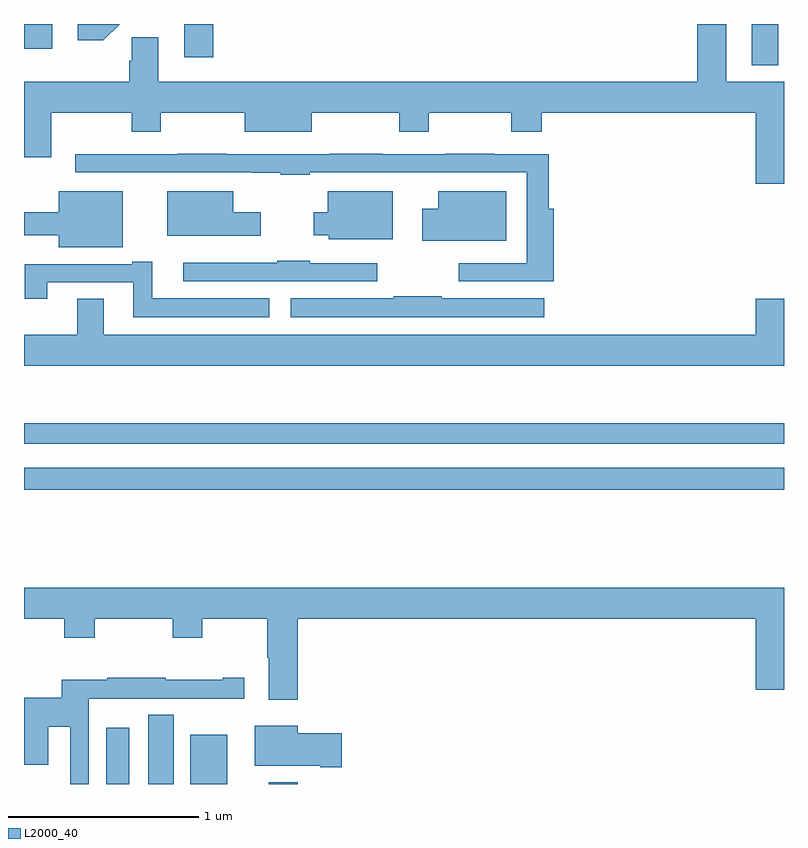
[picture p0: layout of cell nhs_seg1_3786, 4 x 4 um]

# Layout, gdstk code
import gdstk
lib = gdstk.Library(unit=1e-6, precision=1e-09)
def R(c, l, rs):  # rectangles x0, y0, x1, y1
    for r in rs: c.add(gdstk.rectangle(r[:2], r[2:], *l))
def P(c, l, *ps):  # polygons
    for p in ps: c.add(gdstk.Polygon(p, *l))
L2000_40 = (2000, 40)

nhs_seg1_3786 = lib.new_cell('nhs_seg1_3786')
R(nhs_seg1_3786, L2000_40, [(317.432,548.199,317.554,548.494), (317.654,548.199,317.788,548.564), (317.876,548.199,318.07,548.458), (318.287,548.199,318.44,548.209), (317,549.748,321,549.864), (317,549.99,321,550.099), (320.831,551.981,320.971,552.199), (317.843,552.024,317.996,552.199), (317,552.068,317.149,552.199)])
P(nhs_seg1_3786, L2000_40, [(321,551.896),(320.695,551.896),(320.695,552.199),(320.543,552.199),(320.543,551.896),(317.707,551.896),(317.707,552.128),(317.568,552.128),(317.568,552.006),(317.555,552.006),(317.555,551.896),(317,551.896),(317,551.499),(317.143,551.499),(317.143,551.732),(317.566,551.732),(317.566,551.633),(317.721,551.633),(317.721,551.732),(318.161,551.732),(318.161,551.633),(318.514,551.633),(318.514,551.732),(318.976,551.732),(318.976,551.633),(319.131,551.633),(319.131,551.732),(319.564,551.732),(319.564,551.633),(319.724,551.633),(319.724,551.732),(320.852,551.732),(320.852,551.358),(321,551.358)],
  [(317.503,552.199),(317.283,552.199),(317.283,552.114),(317.418,552.114)],
  [(319.787,551.227),(319.763,551.227),(319.763,551.514),(319.475,551.514),(319.475,551.516),(319.219,551.516),(319.219,551.514),(318.887,551.514),(318.887,551.516),(318.61,551.516),(318.61,551.514),(318.065,551.514),(318.065,551.516),(317.809,551.516),(317.809,551.514),(317.271,551.514),(317.271,551.418),(318.196,551.418),(318.196,551.417),(318.35,551.417),(318.35,551.406),(318.503,551.406),(318.503,551.418),(319.647,551.418),(319.647,550.941),(319.287,550.941),(319.287,550.845),(319.787,550.845)],
  [(318.247,551.209),(318.1,551.209),(318.1,551.32),(317.753,551.32),(317.753,551.084),(318.247,551.084)],
  [(317.521,551.32),(317.183,551.32),(317.183,551.209),(317,551.209),(317,551.087),(317.183,551.087),(317.183,551.024),(317.521,551.024)],
  [(318.94,551.32),(318.599,551.32),(318.599,551.209),(318.524,551.209),(318.524,551.087),(318.603,551.087),(318.603,551.066),(318.94,551.066)],
  [(319.537,551.32),(319.181,551.32),(319.181,551.227),(319.097,551.227),(319.097,551.057),(319.537,551.057)],
  [(318.859,550.941),(318.503,550.941),(318.503,550.954),(318.334,550.954),(318.334,550.942),(317.838,550.942),(317.838,550.845),(318.859,550.845)],
  [(318.292,550.756),(317.674,550.756),(317.674,550.948),(317.57,550.948),(317.57,550.935),(317.005,550.935),(317.005,550.752),(317.122,550.752),(317.122,550.839),(317.576,550.839),(317.576,550.655),(318.292,550.655)],
  [(319.738,550.756),(319.199,550.756),(319.199,550.766),(318.946,550.766),(318.946,550.756),(318.405,550.756),(318.405,550.655),(319.738,550.655)],
  [(321,550.753),(320.852,550.753),(320.852,550.564),(317.419,550.564),(317.419,550.754),(317.279,550.754),(317.279,550.564),(317,550.564),(317,550.4),(321,550.4)],
  [(317,549.068),(317.213,549.068),(317.213,548.969),(317.373,548.969),(317.373,549.068),(317.782,549.068),(317.782,548.969),(317.937,548.969),(317.937,549.068),(318.28,549.068),(318.28,548.864),(318.287,548.864),(318.287,548.643),(318.44,548.643),(318.44,549.068),(320.852,549.068),(320.852,548.694),(321,548.694),(321,549.232),(317,549.232)],
  [(317.34,548.648),(317.55,548.648),(317.55,548.649),(317.884,548.649),(317.884,548.648),(318.16,548.648),(318.16,548.758),(318.047,548.758),(318.047,548.748),(317.747,548.748),(317.747,548.758),(317.437,548.758),(317.437,548.748),(317.198,548.748),(317.198,548.653),(317,548.653),(317,548.301),(317.128,548.301),(317.128,548.501),(317.244,548.501),(317.244,548.199),(317.34,548.199)],
  [(318.673,548.465),(318.442,548.465),(318.442,548.506),(318.215,548.506),(318.215,548.294),(318.56,548.294),(318.56,548.287),(318.673,548.287)])

lib.write_gds('nhs_seg1_3786.gds')
